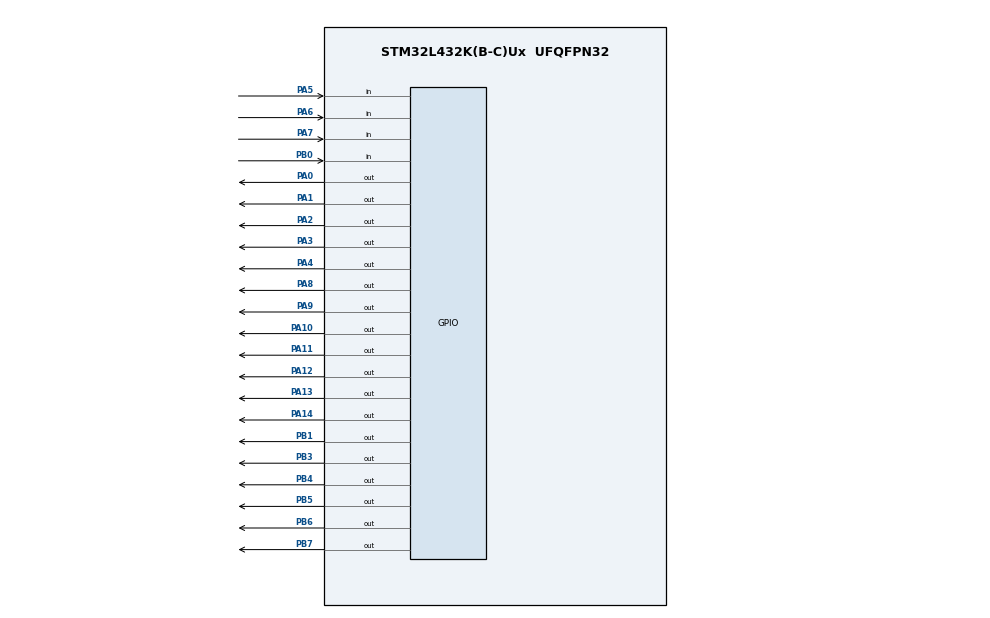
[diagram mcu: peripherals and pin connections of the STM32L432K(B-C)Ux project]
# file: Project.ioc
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Mcu.Family=STM32L4
Mcu.Name=STM32L432K(B-C)Ux
Mcu.Package=UFQFPN32
NVIC.PriorityGroup=NVIC_PRIORITYGROUP_4
PA0.Signal=GPIO_Output
PA1.Signal=GPIO_Output
PA10.Signal=GPIO_Output
PA11.Signal=GPIO_Output
PA12.Signal=GPIO_Output
PA13\ (JTMS-SWDIO).Signal=GPIO_Output
PA14\ (JTCK-SWCLK).Signal=GPIO_Output
PA2.Signal=GPIO_Output
PA3.Signal=GPIO_Output
PA4.Signal=GPIO_Output
PA5.Signal=GPIO_Input
PA6.Signal=GPIO_Input
PA7.Signal=GPIO_Input
PA8.Signal=GPIO_Output
PA9.Signal=GPIO_Output
PB0.Signal=GPIO_Input
PB1.Signal=GPIO_Output
PB3\ (JTDO-TRACESWO).Signal=GPIO_Output
PB4\ (NJTRST).Signal=GPIO_Output
PB5.Signal=GPIO_Output
PB6.Signal=GPIO_Output
PB7.Signal=GPIO_Output
ProjectManager.HeapSize=0x200
ProjectManager.StackSize=0x400
ProjectManager.TargetToolchain=MDK-ARM V5.32
RCC.HSE_VALUE=8000000
RCC.HSI48_VALUE=48000000
RCC.HSI_VALUE=16000000
RCC.LSE_VALUE=32768
RCC.MSI_VALUE=4000000
RCC.VCOOutputFreq_Value=32000000
board=custom

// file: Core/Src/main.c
/* USER CODE BEGIN Header */
/**
  ******************************************************************************
  * @file           : main.c
  * @brief          : Main program body
  ******************************************************************************
  * @attention
  *
  * <h2><center>&copy; Copyright (c) 2022 STMicroelectronics.
  * All rights reserved.</center></h2>
  *
  * This software component is licensed by ST under BSD 3-Clause license,
  * the "License"; You may not use this file except in compliance with the
  * License. You may obtain a copy of the License at:
  *                        opensource.org/licenses/BSD-3-Clause
  *
  ******************************************************************************
  */
/* USER CODE END Header */
#include "main.h"

void SystemClock_Config(void);
static void MX_GPIO_Init(void);
/* USER CODE BEGIN PFP */
 char read_char();
/* USER CODE END PFP */

/* USER CODE BEGIN 0 */
 char read_char(){

	 //____________________________Col1________________________________//
	 uint8_t a='1';
HAL_GPIO_WritePin(GPIOA,GPIO_PIN_0,GPIO_PIN_SET); //col4
HAL_GPIO_WritePin(GPIOA,GPIO_PIN_1,GPIO_PIN_SET);
HAL_GPIO_WritePin(GPIOA,GPIO_PIN_3,GPIO_PIN_SET);
HAL_GPIO_WritePin(GPIOA,GPIO_PIN_4,GPIO_PIN_RESET);//col1

	 if (!HAL_GPIO_ReadPin(GPIOB,GPIO_PIN_0)){ //row1
		 while(!HAL_GPIO_ReadPin(GPIOB,GPIO_PIN_0)){};
			//	HAL_UART_Transmit(&huart2,&a,sizeof(a),100);
		 return a;

	 }

	  else if (!HAL_GPIO_ReadPin(GPIOA,GPIO_PIN_7)){
			a='4';
		 while(!HAL_GPIO_ReadPin(GPIOA,GPIO_PIN_7)){};
			//	HAL_UART_Transmit(&huart2,&a,sizeof(a),100);
		 return a;
	 }

	  else if (!HAL_GPIO_ReadPin(GPIOA,GPIO_PIN_6)){
			a='7';
		 while(!HAL_GPIO_ReadPin(GPIOA,GPIO_PIN_6)){};
			//	HAL_UART_Transmit(&huart2,&a,sizeof(a),100);
		 return a;
	 }

	  else if (!HAL_GPIO_ReadPin(GPIOA,GPIO_PIN_5)){//row4
			a='0';

		 while(!HAL_GPIO_ReadPin(GPIOA,GPIO_PIN_5)){};
		//	HAL_UART_Transmit(&huart2,&a,sizeof(a),100);
				 return a;
	 }
			 //____________________________Col2________________________________//

HAL_GPIO_WritePin(GPIOA,GPIO_PIN_0,GPIO_PIN_SET); //col4
HAL_GPIO_WritePin(GPIOA,GPIO_PIN_1,GPIO_PIN_SET);
HAL_GPIO_WritePin(GPIOA,GPIO_PIN_3,GPIO_PIN_RESET);
HAL_GPIO_WritePin(GPIOA,GPIO_PIN_4,GPIO_PIN_SET);//col1

	 if (!HAL_GPIO_ReadPin(GPIOB,GPIO_PIN_0)){ //row1
		  a='2';
		 while(!HAL_GPIO_ReadPin(GPIOB,GPIO_PIN_0)){};
			//	HAL_UART_Transmit(&huart2,&a,sizeof(a),100);
		 return a;

	 }

	  else if (!HAL_GPIO_ReadPin(GPIOA,GPIO_PIN_7)){
			a='5';
		 while(!HAL_GPIO_ReadPin(GPIOA,GPIO_PIN_7)){};
			//	HAL_UART_Transmit(&huart2,&a,sizeof(a),100);
		 return a;
	 }

	  else if (!HAL_GPIO_ReadPin(GPIOA,GPIO_PIN_6)){
			a='8';
		 while(!HAL_GPIO_ReadPin(GPIOA,GPIO_PIN_6)){};
			//	HAL_UART_Transmit(&huart2,&a,sizeof(a),100);
		 return a;
	 }

	  else if (!HAL_GPIO_ReadPin(GPIOA,GPIO_PIN_5)){//row4
			a='F';

		 while(!HAL_GPIO_ReadPin(GPIOA,GPIO_PIN_5)){};
		//	HAL_UART_Transmit(&huart2,&a,sizeof(a),100);
				 return a;
		}

					 //____________________________Col3________________________________//

HAL_GPIO_WritePin(GPIOA,GPIO_PIN_0,GPIO_PIN_SET); //col4
HAL_GPIO_WritePin(GPIOA,GPIO_PIN_1,GPIO_PIN_RESET);
HAL_GPIO_WritePin(GPIOA,GPIO_PIN_3,GPIO_PIN_SET);
HAL_GPIO_WritePin(GPIOA,GPIO_PIN_4,GPIO_PIN_SET);//col1

	 if (!HAL_GPIO_ReadPin(GPIOB,GPIO_PIN_0)){ //row1
		  a='3';
		 while(!HAL_GPIO_ReadPin(GPIOB,GPIO_PIN_0)){};
			//	HAL_UART_Transmit(&huart2,&a,sizeof(a),100);
		 return a;

	 }

	  else if (!HAL_GPIO_ReadPin(GPIOA,GPIO_PIN_7)){
			a='6';
		 while(!HAL_GPIO_ReadPin(GPIOA,GPIO_PIN_7)){};
		//		HAL_UART_Transmit(&huart2,&a,sizeof(a),100);
		 return a;
	 }

	  else if (!HAL_GPIO_ReadPin(GPIOA,GPIO_PIN_6)){
			a='9';
		 while(!HAL_GPIO_ReadPin(GPIOA,GPIO_PIN_6)){};
			//	HAL_UART_Transmit(&huart2,&a,sizeof(a),100);
		 return a;
	 }

	  else if (!HAL_GPIO_ReadPin(GPIOA,GPIO_PIN_5)){//row4
			a='E';

		 while(!HAL_GPIO_ReadPin(GPIOA,GPIO_PIN_5)){};
		//	HAL_UART_Transmit(&huart2,&a,sizeof(a),100);
				 return a;
		}
			 //____________________________Col4________________________________//

HAL_GPIO_WritePin(GPIOA,GPIO_PIN_0,GPIO_PIN_RESET); //col4
HAL_GPIO_WritePin(GPIOA,GPIO_PIN_1,GPIO_PIN_SET);
HAL_GPIO_WritePin(GPIOA,GPIO_PIN_3,GPIO_PIN_SET);
HAL_GPIO_WritePin(GPIOA,GPIO_PIN_4,GPIO_PIN_SET);//col1

	 if (!HAL_GPIO_ReadPin(GPIOB,GPIO_PIN_0)){ //row1
		  a='A';
		 while(!HAL_GPIO_ReadPin(GPIOB,GPIO_PIN_0)){};
		//		HAL_UART_Transmit(&huart2,&a,sizeof(a),100);
		 return a;

	 }

	  else if (!HAL_GPIO_ReadPin(GPIOA,GPIO_PIN_7)){
			a='B';
		 while(!HAL_GPIO_ReadPin(GPIOA,GPIO_PIN_7)){};
				//HAL_UART_Transmit(&huart2,&a,sizeof(a),100);
		 return a;
	 }

	  else if (!HAL_GPIO_ReadPin(GPIOA,GPIO_PIN_6)){
			a='C';
		 while(!HAL_GPIO_ReadPin(GPIOA,GPIO_PIN_6)){};
			//	HAL_UART_Transmit(&huart2,&a,sizeof(a),100);
		 return a;
	 }

	  else if (!HAL_GPIO_ReadPin(GPIOA,GPIO_PIN_5)){//row4
			a='D';

		 while(!HAL_GPIO_ReadPin(GPIOA,GPIO_PIN_5));
			//HAL_UART_Transmit(&huart2,&a,sizeof(a),100);
				 return a;
		}

 }
/* USER CODE END 0 */

int main(void)
{

  /* MCU Configuration--------------------------------------------------------*/

  /* Reset of all peripherals, Initializes the Flash interface and the Systick. */
  HAL_Init();

  /* Configure the system clock */
  SystemClock_Config();

  /* Initialize all configured peripherals */
  MX_GPIO_Init();

  /* Infinite loop */
  /* USER CODE BEGIN WHILE */

	//delay
	HAL_Delay(20);
	//Set Function
	HAL_GPIO_WritePin(GPIOB,GPIO_PIN_4,GPIO_PIN_RESET);//data 0
	HAL_GPIO_WritePin(GPIOB,GPIO_PIN_5,GPIO_PIN_RESET);
	HAL_GPIO_WritePin(GPIOA,GPIO_PIN_11,GPIO_PIN_RESET);
	HAL_GPIO_WritePin(GPIOA,GPIO_PIN_8,GPIO_PIN_SET); //data 3

	HAL_GPIO_WritePin(GPIOB,GPIO_PIN_3,GPIO_PIN_SET);//data 4
	HAL_GPIO_WritePin(GPIOA,GPIO_PIN_2,GPIO_PIN_SET);
	HAL_GPIO_WritePin(GPIOB,GPIO_PIN_1,GPIO_PIN_RESET);
	HAL_GPIO_WritePin(GPIOB,GPIO_PIN_6,GPIO_PIN_RESET); //data 7

	HAL_GPIO_WritePin(GPIOB,GPIO_PIN_7,GPIO_PIN_RESET);  //RS
	HAL_GPIO_WritePin(GPIOA,GPIO_PIN_12,GPIO_PIN_RESET); //RW
	//HAL_GPIO_WritePin(GPIOA,GPIO_PIN_10,GPIO_PIN_SET); //E

	HAL_Delay(20);
	// Display control
	HAL_GPIO_WritePin(GPIOB,GPIO_PIN_4,GPIO_PIN_SET);//data 0
	HAL_GPIO_WritePin(GPIOB,GPIO_PIN_5,GPIO_PIN_SET);
	HAL_GPIO_WritePin(GPIOA,GPIO_PIN_11,GPIO_PIN_SET);
	HAL_GPIO_WritePin(GPIOA,GPIO_PIN_8,GPIO_PIN_SET); //data 3

	HAL_GPIO_WritePin(GPIOB,GPIO_PIN_3,GPIO_PIN_RESET);//data 4
	HAL_GPIO_WritePin(GPIOA,GPIO_PIN_2,GPIO_PIN_RESET);
	HAL_GPIO_WritePin(GPIOB,GPIO_PIN_1,GPIO_PIN_RESET);
	HAL_GPIO_WritePin(GPIOB,GPIO_PIN_6,GPIO_PIN_RESET); //data 7

	HAL_GPIO_WritePin(GPIOB,GPIO_PIN_7,GPIO_PIN_RESET);  //RS
	HAL_GPIO_WritePin(GPIOA,GPIO_PIN_12,GPIO_PIN_RESET); //RW
	//HAL_GPIO_WritePin(GPIOA,GPIO_PIN_10,GPIO_PIN_SET); //E

	HAL_Delay(20);

	//Clear
	HAL_GPIO_WritePin(GPIOB,GPIO_PIN_4,GPIO_PIN_SET);//data 0
	HAL_GPIO_WritePin(GPIOB,GPIO_PIN_5,GPIO_PIN_RESET);
	HAL_GPIO_WritePin(GPIOA,GPIO_PIN_11,GPIO_PIN_RESET);
	HAL_GPIO_WritePin(GPIOA,GPIO_PIN_8,GPIO_PIN_RESET); //data 3

	HAL_GPIO_WritePin(GPIOB,GPIO_PIN_3,GPIO_PIN_RESET);//data 4
	HAL_GPIO_WritePin(GPIOA,GPIO_PIN_2,GPIO_PIN_RESET);
	HAL_GPIO_WritePin(GPIOB,GPIO_PIN_1,GPIO_PIN_RESET);
	HAL_GPIO_WritePin(GPIOB,GPIO_PIN_6,GPIO_PIN_RESET); //data 7

	HAL_GPIO_WritePin(GPIOB,GPIO_PIN_7,GPIO_PIN_RESET);  //RS
	HAL_GPIO_WritePin(GPIOA,GPIO_PIN_12,GPIO_PIN_RESET); //RW
	//HAL_GPIO_WritePin(GPIOA,GPIO_PIN_10,GPIO_PIN_SET); //E
	HAL_Delay(20);

	HAL_GPIO_WritePin(GPIOA,GPIO_PIN_10,GPIO_PIN_SET); //E

	//display
	HAL_GPIO_WritePin(GPIOB,GPIO_PIN_4,GPIO_PIN_RESET);//data 0
	HAL_GPIO_WritePin(GPIOB,GPIO_PIN_5,GPIO_PIN_RESET);
	HAL_GPIO_WritePin(GPIOA,GPIO_PIN_11,GPIO_PIN_RESET);
	HAL_GPIO_WritePin(GPIOA,GPIO_PIN_8,GPIO_PIN_RESET); //data 3

	HAL_GPIO_WritePin(GPIOB,GPIO_PIN_3,GPIO_PIN_SET);//data 4
	HAL_GPIO_WritePin(GPIOA,GPIO_PIN_2,GPIO_PIN_SET);
	HAL_GPIO_WritePin(GPIOB,GPIO_PIN_1,GPIO_PIN_RESET);
	HAL_GPIO_WritePin(GPIOB,GPIO_PIN_6,GPIO_PIN_RESET); //data 7

		HAL_GPIO_WritePin(GPIOB,GPIO_PIN_7,GPIO_PIN_SET);  //RS
	HAL_GPIO_WritePin(GPIOA,GPIO_PIN_12,GPIO_PIN_RESET); //RW
//		HAL_GPIO_WritePin(GPIOB,GPIO_PIN_4,GPIO_PIN_SET);//data 0
//	HAL_GPIO_WritePin(GPIOB,GPIO_PIN_5,GPIO_PIN_SET);
//	HAL_GPIO_WritePin(GPIOA,GPIO_PIN_11,GPIO_PIN_SET);
//	HAL_GPIO_WritePin(GPIOA,GPIO_PIN_8,GPIO_PIN_SET); //data 3
//
//	HAL_GPIO_WritePin(GPIOB,GPIO_PIN_3,GPIO_PIN_SET);//data 4
//	HAL_GPIO_WritePin(GPIOA,GPIO_PIN_2,GPIO_PIN_SET);
//	HAL_GPIO_WritePin(GPIOB,GPIO_PIN_1,GPIO_PIN_SET);
//	HAL_GPIO_WritePin(GPIOB,GPIO_PIN_6,GPIO_PIN_SET); //data 7

//	HAL_GPIO_WritePin(GPIOA,GPIO_PIN_12,GPIO_PIN_RESET); //RW
//	HAL_GPIO_WritePin(GPIOB,GPIO_PIN_7,GPIO_PIN_SET);  //RS

		HAL_GPIO_WritePin(GPIOA,GPIO_PIN_10,GPIO_PIN_RESET); //E
  char uart_buf[20];
  while (1)
  {
    /* USER CODE END WHILE */

    /* USER CODE BEGIN 3 */
	sprintf(uart_buf, "Motion Detected\r\n");

	if (HAL_GPIO_ReadPin(GPIOB, GPIO_PIN_6)) // if the pin is HIGH
	{
			HAL_GPIO_WritePin (GPIOA, GPIO_PIN_7, 1); // turn on LED
			HAL_UART_Transmit(&huart2, (uint8_t *)uart_buf, sizeof(uart_buf), HAL_MAX_DELAY);
			HAL_Delay (1000);
			HAL_GPIO_WritePin (GPIOA, GPIO_PIN_7, 0); // LED OFF

			while (HAL_GPIO_ReadPin(GPIOB, GPIO_PIN_6)); //wait for pin to go low
	}
  }
  /* USER CODE END 3 */
}

void SystemClock_Config(void)
{
  RCC_OscInitTypeDef RCC_OscInitStruct = {0};
  RCC_ClkInitTypeDef RCC_ClkInitStruct = {0};

  /** Configure the main internal regulator output voltage
  */
  if (HAL_PWREx_ControlVoltageScaling(PWR_REGULATOR_VOLTAGE_SCALE1) != HAL_OK)
  {
    Error_Handler();
  }
  /** Initializes the RCC Oscillators according to the specified parameters
  * in the RCC_OscInitTypeDef structure.
  */
  RCC_OscInitStruct.OscillatorType = RCC_OSCILLATORTYPE_MSI;
  RCC_OscInitStruct.MSIState = RCC_MSI_ON;
  RCC_OscInitStruct.MSICalibrationValue = 0;
  RCC_OscInitStruct.MSIClockRange = RCC_MSIRANGE_6;
  RCC_OscInitStruct.PLL.PLLState = RCC_PLL_NONE;
  if (HAL_RCC_OscConfig(&RCC_OscInitStruct) != HAL_OK)
  {
    Error_Handler();
  }
  /** Initializes the CPU, AHB and APB buses clocks
  */
  RCC_ClkInitStruct.ClockType = RCC_CLOCKTYPE_HCLK|RCC_CLOCKTYPE_SYSCLK
                              |RCC_CLOCKTYPE_PCLK1|RCC_CLOCKTYPE_PCLK2;
  RCC_ClkInitStruct.SYSCLKSource = RCC_SYSCLKSOURCE_MSI;
  RCC_ClkInitStruct.AHBCLKDivider = RCC_SYSCLK_DIV1;
  RCC_ClkInitStruct.APB1CLKDivider = RCC_HCLK_DIV1;
  RCC_ClkInitStruct.APB2CLKDivider = RCC_HCLK_DIV1;

  if (HAL_RCC_ClockConfig(&RCC_ClkInitStruct, FLASH_LATENCY_0) != HAL_OK)
  {
    Error_Handler();
  }
}

static void MX_GPIO_Init(void)
{
  GPIO_InitTypeDef GPIO_InitStruct = {0};

  /* GPIO Ports Clock Enable */
  __HAL_RCC_GPIOA_CLK_ENABLE();
  __HAL_RCC_GPIOB_CLK_ENABLE();

  /*Configure GPIO pin Output Level */
  HAL_GPIO_WritePin(GPIOA, GPIO_PIN_0|GPIO_PIN_1|GPIO_PIN_2|GPIO_PIN_3
                          |GPIO_PIN_4|GPIO_PIN_8|GPIO_PIN_9|GPIO_PIN_10
                          |GPIO_PIN_11|GPIO_PIN_12|GPIO_PIN_13|GPIO_PIN_14, GPIO_PIN_RESET);

  /*Configure GPIO pin Output Level */
  HAL_GPIO_WritePin(GPIOB, GPIO_PIN_1|GPIO_PIN_3|GPIO_PIN_4|GPIO_PIN_5
                          |GPIO_PIN_6|GPIO_PIN_7, GPIO_PIN_RESET);

  /*Configure GPIO pins : PA0 PA1 PA2 PA3
                           PA4 PA8 PA9 PA10
                           PA11 PA12 PA13 PA14 */
  GPIO_InitStruct.Pin = GPIO_PIN_0|GPIO_PIN_1|GPIO_PIN_2|GPIO_PIN_3
                          |GPIO_PIN_4|GPIO_PIN_8|GPIO_PIN_9|GPIO_PIN_10
                          |GPIO_PIN_11|GPIO_PIN_12|GPIO_PIN_13|GPIO_PIN_14;
  GPIO_InitStruct.Mode = GPIO_MODE_OUTPUT_PP;
  GPIO_InitStruct.Pull = GPIO_NOPULL;
  GPIO_InitStruct.Speed = GPIO_SPEED_FREQ_LOW;
  HAL_GPIO_Init(GPIOA, &GPIO_InitStruct);

  /*Configure GPIO pins : PA5 PA6 PA7 */
  GPIO_InitStruct.Pin = GPIO_PIN_5|GPIO_PIN_6|GPIO_PIN_7;
  GPIO_InitStruct.Mode = GPIO_MODE_INPUT;
  GPIO_InitStruct.Pull = GPIO_NOPULL;
  HAL_GPIO_Init(GPIOA, &GPIO_InitStruct);

  /*Configure GPIO pin : PB0 */
  GPIO_InitStruct.Pin = GPIO_PIN_0;
  GPIO_InitStruct.Mode = GPIO_MODE_INPUT;
  GPIO_InitStruct.Pull = GPIO_NOPULL;
  HAL_GPIO_Init(GPIOB, &GPIO_InitStruct);

  /*Configure GPIO pins : PB1 PB3 PB4 PB5
                           PB6 PB7 */
  GPIO_InitStruct.Pin = GPIO_PIN_1|GPIO_PIN_3|GPIO_PIN_4|GPIO_PIN_5
                          |GPIO_PIN_6|GPIO_PIN_7;
  GPIO_InitStruct.Mode = GPIO_MODE_OUTPUT_PP;
  GPIO_InitStruct.Pull = GPIO_NOPULL;
  GPIO_InitStruct.Speed = GPIO_SPEED_FREQ_LOW;
  HAL_GPIO_Init(GPIOB, &GPIO_InitStruct);

}

void Error_Handler(void)
{
  __disable_irq();
  while (1)
  {
  }
}

/************************ (C) COPYRIGHT STMicroelectronics *****END OF FILE****/
